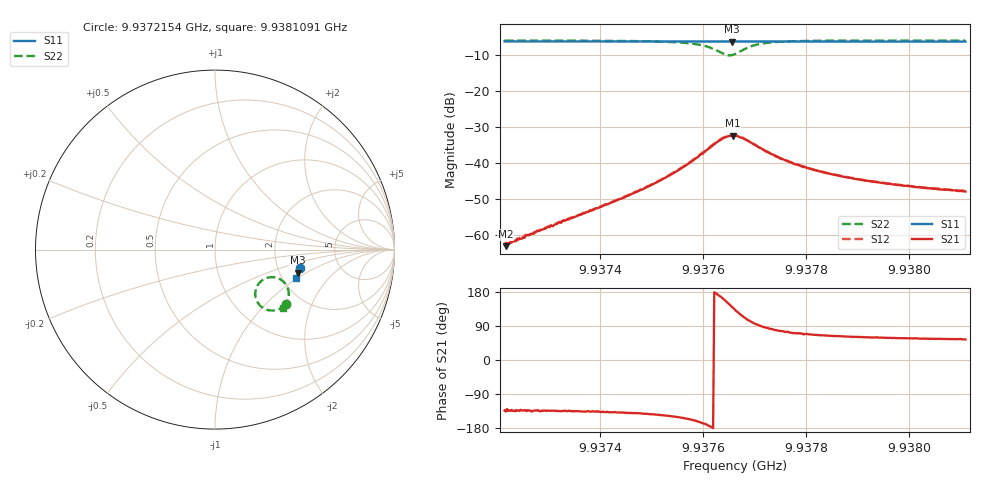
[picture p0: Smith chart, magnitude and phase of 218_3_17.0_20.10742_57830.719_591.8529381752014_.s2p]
#  HZ  S  RI  R  50.00
! Rohde & Schwarz Vector Network Analyzer
! Rohde-Schwarz,ZNB20-2Port,1311601062101988,3.16
! Created: UTC 3/20/2024, 11:01:52 PM
! freq[Hz]  re:S11  im:S11  re:S21  im:S21  re:S12  im:S12  re:S22  im:S22
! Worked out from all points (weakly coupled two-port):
!   401 points, 9.9372154 GHz to 9.9381091 GHz, reference 50 ohm
!   highest |S21| = -32.46 dB at 9.9376578 GHz (marker M1); lowest = -63.2 dB at 9.9372176 GHz (marker M2)
!   lowest |S11| = -6.4 dB at 9.9376555 GHz (marker M3), VSWR 2.84, Z = 126 - j42 ohm
!   |S11| at or under -10 dB: nowhere
!   |S22| runs from -10.2 to -6.1 dB; largest |S21 - S12| = 0.001
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9.93721535e9  0.4733 -0.1011  -0.000494 -0.000523  -0.000513 -0.000519  0.3937 -0.3048
9.93721759e9  0.4732 -0.1013  -0.000498 -0.000482  -0.000545 -0.000547  0.3936 -0.305
9.9372377e9  0.4728 -0.1027  -0.000553 -0.000612  -0.00059 -0.000605  0.3918 -0.3066
9.93727792e9  0.4718 -0.1052  -0.000779 -0.00082  -0.000799 -0.000787  0.3885 -0.31
9.93736506e9  0.4701 -0.1113  -0.00137 -0.00134  -0.0014 -0.00136  0.3789 -0.3181
9.9374455e9  0.4683 -0.1168  -0.00245 -0.00216  -0.00249 -0.00213  0.3654 -0.327
9.93751477e9  0.4667 -0.1215  -0.00455 -0.00319  -0.00465 -0.00319  0.3442 -0.3359
9.93756393e9  0.4653 -0.1249  -0.00795 -0.00394  -0.00816 -0.00388  0.3135 -0.3396
9.93760415e9  0.4637 -0.1274  -0.014 -0.00281  -0.0144 -0.00248  0.2641 -0.323
9.93763543e9  0.4622 -0.1288  -0.0203 0.00498  -0.0207 0.00586  0.2244 -0.2509
9.93764661e9  0.4617 -0.1289  -0.0204 0.0105  -0.0205 0.0115  0.2326 -0.2082
9.93765554e9  0.4616 -0.1288  -0.0184 0.0148  -0.0182 0.0156  0.2547 -0.1778
9.93765778e9  0.4617 -0.129  -0.0179 0.0158  -0.0174 0.0166  0.2621 -0.1719
9.93766225e9  0.4617 -0.1289  -0.016 0.0176  -0.0156 0.0181  0.278 -0.1624
9.93767342e9  0.462 -0.1292  -0.011 0.0194  -0.0104 0.0202  0.3202 -0.1533
9.93768906e9  0.4624 -0.1302  -0.00499 0.0192  -0.00442 0.0194  0.3665 -0.1672
9.93771364e9  0.4626 -0.1322  0.000214 0.0157  0.000455 0.0157  0.4004 -0.2043
9.93775163e9  0.4621 -0.1351  0.0027 0.0109  0.00298 0.0111  0.4109 -0.2449
9.93781196e9  0.4607 -0.1393  0.00314 0.00743  0.00333 0.00745  0.4063 -0.2773
9.93787452e9  0.4592 -0.1437  0.00297 0.0056  0.00309 0.00564  0.3991 -0.2941
9.93796167e9  0.4571 -0.1494  0.00265 0.00432  0.00276 0.0043  0.3907 -0.308
9.93810914e9  0.4532 -0.159  0.00233 0.00323  0.0024 0.00325  0.3791 -0.3229
